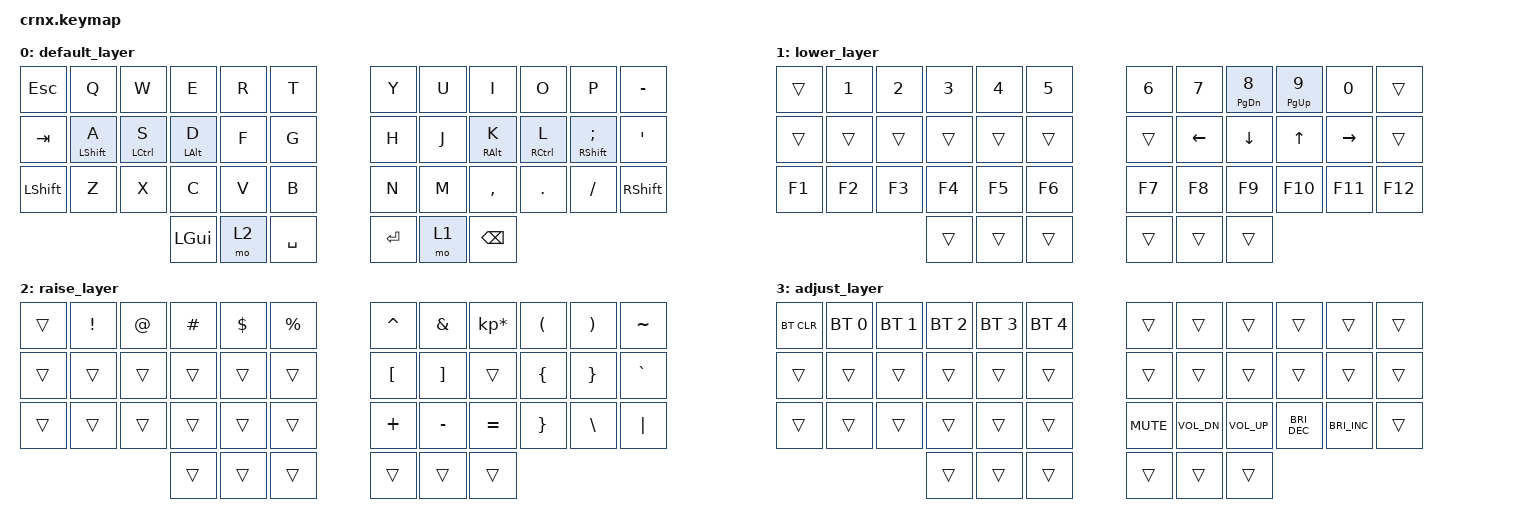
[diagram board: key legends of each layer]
/*
 * Copyright (c) 2020 The ZMK Contributors
 *
 * SPDX-License-Identifier: MIT
 */

#include <behaviors.dtsi>
#include <dt-bindings/zmk/bt.h>
#include <dt-bindings/zmk/keys.h>

/ {
    combos {
        compatible = "zmk,combos";

        caps-words {
            bindings = <&caps_words>;
            key-positions = <24 35>;
        };
    };

    behaviors {
        caps_words: caps_words {
            compatible = "zmk,behavior-caps-word";
            label = "CAPS_WORDS";
            #binding-cells = <0>;
            continue-list = <RIGHT_ARROW LEFT_ARROW BACKSPACE UNDERSCORE SPACE>;
        };

        hmr_l: hmr_l {
            compatible = "zmk,behavior-hold-tap";
            label = "HMR_L";
            bindings = <&kp>, <&kp>;

            #binding-cells = <2>;
            tapping-term-ms = <300>;
            quick-tap-ms = <175>;
            flavor = "balanced";
            hold-trigger-key-positions = <36 38 30 18 6 7 8 9 10 11 19 20 21 22 23 31 32 33 34 35 41 39>;
            hold-trigger-on-release;
        };

        hmr_r: hmr_r {
            compatible = "zmk,behavior-hold-tap";
            label = "HMR_R";
            bindings = <&kp>, <&kp>;

            #binding-cells = <2>;
            tapping-term-ms = <300>;
            quick-tap-ms = <175>;
            flavor = "balanced";
            hold-trigger-key-positions = <0 1 2 3 4 5 12 13 14 15 16 17 24 25 26 27 28 29 36 38 39 41>;
            hold-trigger-on-release;
        };

        hold_tap: hold_tap {
            compatible = "zmk,behavior-hold-tap";
            label = "HOLD_TAP";
            bindings = <&kp>, <&kp>;

            #binding-cells = <2>;
            tapping-term-ms = <250>;
            quick-tap-ms = <125>;
            flavor = "balanced";
        };
    };

    keymap {
        compatible = "zmk,keymap";

        default_layer {
            // -----------------------------------------------------------------------------------------
            // |  TAB |  Q  |  W  |  E  |  R  |  T  |   |  Y  |  U   |  I  |  O  |  P  | BKSP |
            // | CTRL |  A  |  S  |  D  |  F  |  G  |   |  H  |  J   |  K  |  L  |  ;  |  '   |
            // | SHFT |  Z  |  X  |  C  |  V  |  B  |   |  N  |  M   |  ,  |  .  |  /  | ESC  |
            //                    | GUI | LWR | SPC |   | ENT | RSE  | ALT |

            bindings = <
&kp ESCAPE  &kp Q                &kp W           &kp E              &kp R  &kp T        &kp Y    &kp U  &kp I               &kp O           &kp P                    &kp MINUS
&kp TAB     &hmr_l LEFT_SHIFT A  &hmr_l LCTRL S  &hmr_l LEFT_ALT D  &kp F  &kp G        &kp H    &kp J  &hmr_r RIGHT_ALT K  &hmr_r RCTRL L  &hmr_r RIGHT_SHIFT SEMI  &kp SQT
&kp LSHFT   &kp Z                &kp X           &kp C              &kp V  &kp B        &kp N    &kp M  &kp COMMA           &kp DOT         &kp FSLH                 &kp RIGHT_SHIFT
                                                 &kp LGUI           &mo 2  &kp SPACE    &kp RET  &mo 1  &kp BACKSPACE
            >;
        };

        lower_layer {
            // -----------------------------------------------------------------------------------------
            // |  TAB |  1  |  2  |  3  |  4  |  5  |   |  6  |  7  |  8  |  9  |  0  | BKSP |
            // | BTCLR| BT1 | BT2 | BT3 | BT4 | BT5 |   | LFT | DWN |  UP | RGT |     |      |
            // | SHFT |     |     |     |     |     |   |     |     |     |     |     |      |
            //                    | GUI |     | SPC |   | ENT |     | ALT |

            bindings = <
&trans  &kp N1  &kp N2  &kp N3  &kp N4  &kp N5    &kp N6  &kp N7          &hold_tap PAGE_DOWN N8  &hold_tap PG_UP N9  &kp N0           &trans
&trans  &trans  &trans  &trans  &trans  &trans    &trans  &kp LEFT_ARROW  &kp DOWN_ARROW          &kp UP_ARROW        &kp RIGHT_ARROW  &trans
&kp F1  &kp F2  &kp F3  &kp F4  &kp F5  &kp F6    &kp F7  &kp F8          &kp F9                  &kp F10             &kp F11          &kp F12
                        &trans  &trans  &trans    &trans  &trans          &trans
            >;
        };

        raise_layer {
            // -----------------------------------------------------------------------------------------
            // |  TAB |  !  |  @  |  #  |  $  |  %  |   |  ^  |  &  |  *  |  (  |  )  | BKSP |
            // | CTRL |     |     |     |     |     |   |  -  |  =  |  [  |  ]  |  \  |  `   |
            // | SHFT |     |     |     |     |     |   |  _  |  +  |  {  |  }  | "|" |  ~   |
            //                    | GUI |     | SPC |   | ENT |     | ALT |

            bindings = <
&trans  &kp EXCL  &kp AT  &kp HASH  &kp DLLR  &kp PRCNT    &kp CARET         &kp AMPS           &kp KP_MULTIPLY  &kp LPAR        &kp RPAR         &kp TILDE
&trans  &trans    &trans  &trans    &trans    &trans       &kp LEFT_BRACKET  &kp RIGHT_BRACKET  &trans           &kp LEFT_BRACE  &kp RIGHT_BRACE  &kp GRAVE
&trans  &trans    &trans  &trans    &trans    &trans       &kp PLUS          &kp MINUS          &kp EQUAL        &kp RBRC        &kp BACKSLASH    &kp PIPE
                          &trans    &trans    &trans       &trans            &trans             &trans
            >;
        };

        adjust_layer {
            bindings = <
&bt BT_CLR  &bt BT_SEL 0  &bt BT_SEL 1  &bt BT_SEL 2  &bt BT_SEL 3  &bt BT_SEL 4    &trans      &trans        &trans           &trans                &trans                &trans
&trans      &trans        &trans        &trans        &trans        &trans          &trans      &trans        &trans           &trans                &trans                &trans
&trans      &trans        &trans        &trans        &trans        &trans          &kp K_MUTE  &kp C_VOL_DN  &kp C_VOLUME_UP  &kp C_BRIGHTNESS_DEC  &kp C_BRIGHTNESS_INC  &trans
                                        &trans        &trans        &trans          &trans      &trans        &trans
            >;
        };
    };

    conditional_layers {
        compatible = "zmk,conditional-layers";

        adjust_layer {
            if-layers = <1 2>;
            then-layer = <3>;
        };
    };
};
